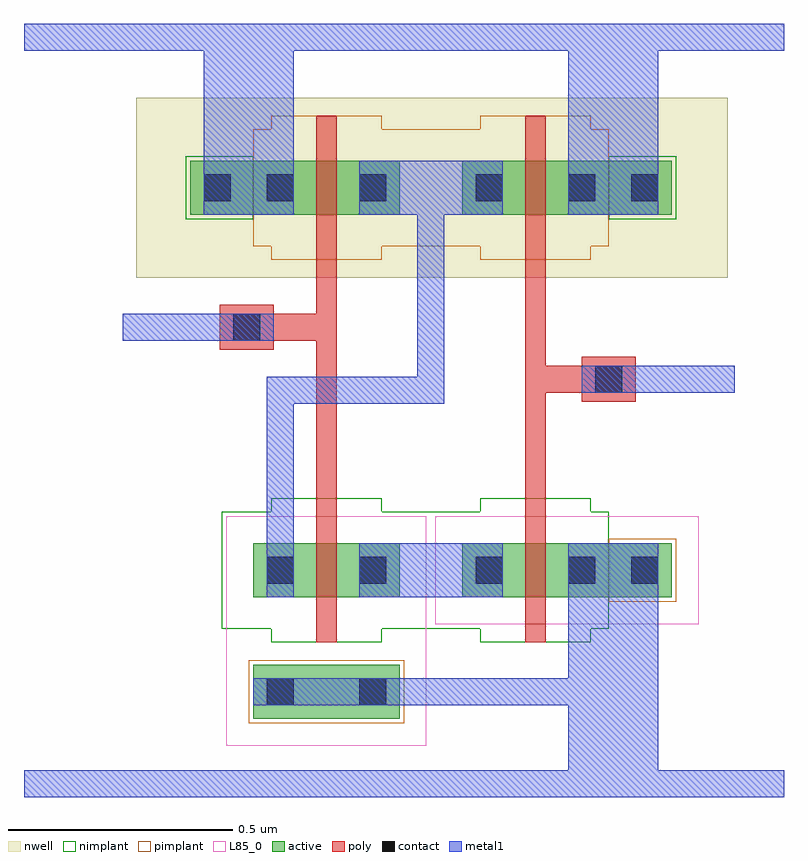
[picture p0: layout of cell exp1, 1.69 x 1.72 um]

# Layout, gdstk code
from math import pi, radians
import gdstk
lib = gdstk.Library(unit=1e-6, precision=5e-10)
def R(c, l, rs):  # rectangles x0, y0, x1, y1
    for r in rs: c.add(gdstk.rectangle(r[:2], r[2:], *l))
active = (1, 0)
nwell = (2, 0)
poly = (3, 0)
nimplant = (4, 0)
pimplant = (5, 0)
contact = (6, 0)
metal1 = (7, 0)
L85_0 = (85, 0)

nmos1v_cdns_782822386930 = lib.new_cell('nmos1v_CDNS_782822386930')
R(nmos1v_cdns_782822386930, active, [(-0.28,0,0,0.12), (0,0,0.045,0.12), (0.045,0,0.185,0.12)])
R(nmos1v_cdns_782822386930, poly, [(0,-0.1,0.045,-0.05), (0,-0.05,0.045,0), (0,0,0.045,0.12), (0,0.12,0.045,0.17), (0,0.17,0.045,0.22)])
R(nmos1v_cdns_782822386930, nimplant, [(-0.1,-0.1,0.145,0.22), (-0.14,-0.07,0.255,0.19)])
R(nmos1v_cdns_782822386930, pimplant, [(-0.29,-0.01,-0.14,0.13)])
R(nmos1v_cdns_782822386930, contact, [(-0.25,0.03,-0.19,0.09), (-0.11,0.03,-0.05,0.09), (0.095,0.03,0.155,0.09)])
R(nmos1v_cdns_782822386930, metal1, [(-0.25,0,-0.05,0.12), (-0.25,0,-0.05,0.12), (0.095,0,0.155,0.12)])
R(nmos1v_cdns_782822386930, L85_0, [(-0.34,-0.06,0.245,0.18)])

nmos1v_cdns_782822386931 = lib.new_cell('nmos1v_CDNS_782822386931')
R(nmos1v_cdns_782822386931, active, [(-0.14,-0.27,0.185,-0.15), (-0.14,0,0,0.12), (0,0,0.045,0.12), (0.045,0,0.185,0.12)])
R(nmos1v_cdns_782822386931, poly, [(0,-0.1,0.045,-0.05), (0,-0.05,0.045,0), (0,0,0.045,0.12), (0,0.12,0.045,0.17), (0,0.17,0.045,0.22)])
R(nmos1v_cdns_782822386931, nimplant, [(-0.1,-0.1,0.145,0.22), (-0.21,-0.07,0.255,0.19)])
R(nmos1v_cdns_782822386931, pimplant, [(-0.15,-0.28,0.195,-0.14)])
R(nmos1v_cdns_782822386931, contact, [(-0.11,-0.24,-0.05,-0.18), (0.095,-0.24,0.155,-0.18), (-0.11,0.03,-0.05,0.09), (0.095,0.03,0.155,0.09)])
R(nmos1v_cdns_782822386931, metal1, [(-0.14,-0.24,0.185,-0.18), (-0.11,0,-0.05,0.12), (0.095,0,0.155,0.12)])
R(nmos1v_cdns_782822386931, L85_0, [(-0.2,-0.33,0.245,0.18)])

pmos1v_cdns_782822386932 = lib.new_cell('pmos1v_CDNS_782822386932')
R(pmos1v_cdns_782822386932, active, [(-0.28,0,0,0.12), (0,0,0.045,0.12), (0.045,0,0.185,0.12)])
R(pmos1v_cdns_782822386932, nwell, [(-0.34,-0.06,0.245,0.18)])
R(pmos1v_cdns_782822386932, poly, [(0,-0.1,0.045,-0.05), (0,-0.05,0.045,0), (0,0,0.045,0.12), (0,0.12,0.045,0.17), (0,0.17,0.045,0.22)])
R(pmos1v_cdns_782822386932, nimplant, [(-0.29,-0.01,-0.14,0.13)])
R(pmos1v_cdns_782822386932, pimplant, [(-0.1,-0.1,0.145,0.22), (-0.14,-0.07,0.255,0.19)])
R(pmos1v_cdns_782822386932, contact, [(-0.25,0.03,-0.19,0.09), (-0.11,0.03,-0.05,0.09), (0.095,0.03,0.155,0.09)])
R(pmos1v_cdns_782822386932, metal1, [(-0.25,0,-0.05,0.12), (-0.25,0,-0.05,0.12), (0.095,0,0.155,0.12)])

m1_po_cdns_782822386930 = lib.new_cell('M1_PO_CDNS_782822386930')
R(m1_po_cdns_782822386930, poly, [(-0.06,-0.05,0.06,0.05)])
R(m1_po_cdns_782822386930, contact, [(-0.03,-0.03,0.03,0.03)])
R(m1_po_cdns_782822386930, metal1, [(-0.06,-0.03,0.06,0.03)])

exp1 = lib.new_cell('exp1')
R(exp1, nwell, [(0.25,1.155,1.565,1.555)])
R(exp1, metal1, [(0,0,1.69,0.06), (0.875,0.875,0.935,0.935), (1.52,0.9,1.58,0.96), (0.22,1.015,0.28,1.075), (0,1.66,1.69,1.72)])
exp1.add(gdstk.FlexPath([(1.1375,1.195),(1.1375,0.93)], 0.045, ends=(0, 0.03), simple_path=True, layer=3, datatype=0))  # poly
exp1.add(gdstk.FlexPath([(1.3,0.93),(1.1375,0.93)], 0.06, ends=(0, 0.0225), simple_path=True, layer=3, datatype=0))  # poly
exp1.add(gdstk.FlexPath([(0.6725,1.195),(0.6725,1.045)], 0.045, ends=(0, 0.03), simple_path=True, layer=3, datatype=0))  # poly
exp1.add(gdstk.FlexPath([(0.495,1.045),(0.6725,1.045)], 0.06, ends=(0, 0.0225), simple_path=True, layer=3, datatype=0))  # poly
exp1.add(gdstk.FlexPath([(1.1375,0.93),(1.1375,0.665)], 0.045, ends=(0.03, 0), simple_path=True, layer=3, datatype=0))  # poly
exp1.add(gdstk.FlexPath([(0.6725,1.045),(0.6725,0.665)], 0.045, ends=(0.03, 0), simple_path=True, layer=3, datatype=0))  # poly
exp1.add(gdstk.FlexPath([(1.52,0.93),(1.3,0.93)], 0.06, ends="flush", simple_path=True, layer=7, datatype=0))  # metal1
exp1.add(gdstk.FlexPath([(0.28,1.045),(0.495,1.045)], 0.06, ends="flush", simple_path=True, layer=7, datatype=0))  # metal1
exp1.add(gdstk.FlexPath([(0.805,1.355),(0.905,1.355)], 0.12, ends=(0, 0.03), simple_path=True, layer=7, datatype=0))  # metal1
exp1.add(gdstk.FlexPath([(0.905,0.905),(0.905,1.355)], 0.06, ends=(0.03, 0.06), simple_path=True, layer=7, datatype=0))  # metal1
exp1.add(gdstk.FlexPath([(0.57,0.905),(0.905,0.905)], 0.06, ends="extended", simple_path=True, layer=7, datatype=0))  # metal1
exp1.add(gdstk.FlexPath([(0.57,0.565),(0.57,0.905)], 0.06, ends=(0, 0.03), simple_path=True, layer=7, datatype=0))  # metal1
exp1.add(gdstk.FlexPath([(0.805,0.505),(1.005,0.505)], 0.12, ends="flush", simple_path=True, layer=7, datatype=0))  # metal1
exp1.add(gdstk.FlexPath([(1.31,1.415),(1.31,1.66)], 0.2, ends="flush", simple_path=True, layer=7, datatype=0))  # metal1
exp1.add(gdstk.FlexPath([(0.5,1.415),(0.5,1.66)], 0.2, ends="flush", simple_path=True, layer=7, datatype=0))  # metal1
exp1.add(gdstk.FlexPath([(1.31,0.445),(1.31,0.235)], 0.2, ends=(0, 0.03), simple_path=True, layer=7, datatype=0))  # metal1
exp1.add(gdstk.FlexPath([(0.835,0.235),(1.31,0.235)], 0.06, ends=(0, 0.1), simple_path=True, layer=7, datatype=0))  # metal1
exp1.add(gdstk.FlexPath([(1.31,0.235),(1.31,0.06)], 0.2, ends=(0.03, 0), simple_path=True, layer=7, datatype=0))  # metal1
exp1.add(gdstk.FlexPath([(0.905,1.355),(1.005,1.355)], 0.12, ends=(0.03, 0), simple_path=True, layer=7, datatype=0))  # metal1
exp1.add(gdstk.Reference(nmos1v_cdns_782822386930, (1.16,0.445), rotation=pi, x_reflection=True))
exp1.add(gdstk.Reference(nmos1v_cdns_782822386931, (0.695,0.445), rotation=pi, x_reflection=True))
exp1.add(gdstk.Reference(pmos1v_cdns_782822386932, (1.16,1.295), rotation=pi, x_reflection=True))
exp1.add(gdstk.Reference(pmos1v_cdns_782822386932, (0.65,1.295)))
exp1.add(gdstk.Reference(m1_po_cdns_782822386930, (1.3,0.93)))
exp1.add(gdstk.Reference(m1_po_cdns_782822386930, (0.495,1.045)))

lib.write_gds('exp1.gds')
